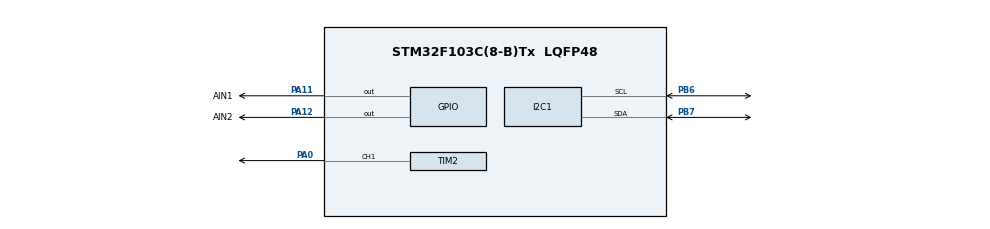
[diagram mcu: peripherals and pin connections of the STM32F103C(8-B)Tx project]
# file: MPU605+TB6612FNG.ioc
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Mcu.Family=STM32F1
Mcu.Name=STM32F103C(8-B)Tx
Mcu.Package=LQFP48
NVIC.PriorityGroup=NVIC_PRIORITYGROUP_4
NVIC.TIM2_IRQn=true\:0\:0\:false\:false\:true\:true\:true\:true
NVIC.TIM4_IRQn=true\:0\:0\:false\:false\:true\:true\:true\:true
PA0-WKUP.GPIO_ModeDefaultPP=GPIO_MODE_AF_OD
PA0-WKUP.Signal=S_TIM2_CH1_ETR
PA11.GPIO_Label=AIN1
PA11.GPIO_Speed=GPIO_SPEED_FREQ_HIGH
PA11.Signal=GPIO_Output
PA12.GPIO_Label=AIN2
PA12.GPIO_Speed=GPIO_SPEED_FREQ_HIGH
PA12.Signal=GPIO_Output
PA13.Mode=Serial_Wire
PA13.Signal=SYS_JTMS-SWDIO
PA14.Mode=Serial_Wire
PA14.Signal=SYS_JTCK-SWCLK
PB6.Mode=I2C
PB6.Signal=I2C1_SCL
PB7.Mode=I2C
PB7.Signal=I2C1_SDA
PD0-OSC_IN.Mode=HSE-External-Oscillator
PD0-OSC_IN.Signal=RCC_OSC_IN
PD1-OSC_OUT.Mode=HSE-External-Oscillator
PD1-OSC_OUT.Signal=RCC_OSC_OUT
ProjectManager.HeapSize=0x200
ProjectManager.StackSize=0x400
ProjectManager.TargetToolchain=MDK-ARM V5.32
RCC.APB1Freq_Value=8000000
RCC.APB2Freq_Value=8000000
SH.S_TIM2_CH1_ETR.0=TIM2_CH1,PWM Generation1 CH1
TIM2.Channel-PWM\ Generation1\ CH1=TIM_CHANNEL_1
TIM2.Period=1000-1
TIM2.Prescaler=8-1
TIM4.Period=10000-1
TIM4.Prescaler=8-1
VP_TIM2_VS_ClockSourceINT.Mode=Internal
VP_TIM4_VS_ClockSourceINT.Mode=Internal
board=custom

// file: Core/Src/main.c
/* USER CODE BEGIN Header */
/**
  ******************************************************************************
  * @file           : main.c
  * @brief          : Main program body
  ******************************************************************************
  * @attention
  *
  * Copyright (c) 2025 STMicroelectronics.
  * All rights reserved.
  *
  * This software is licensed under terms that can be found in the LICENSE file
  * in the root directory of this software component.
  * If no LICENSE file comes with this software, it is provided AS-IS.
  *
  ******************************************************************************
  */
/* USER CODE END Header */
#include "main.h"

/* USER CODE BEGIN Includes */
#include "math.h"
/* USER CODE END Includes */

/* USER CODE BEGIN PD */
#define MPU6050_ADDR   0x68<<1
#define WHO_AM_I_REG   0x75
#define PI             3.141592
/* USER CODE END PD */

I2C_HandleTypeDef hi2c1;
TIM_HandleTypeDef htim2;
TIM_HandleTypeDef htim4;

void SystemClock_Config(void);
static void MX_GPIO_Init(void);
static void MX_I2C1_Init(void);
static void MX_TIM2_Init(void);
static void MX_TIM4_Init(void);
/* USER CODE BEGIN PFP */
int16_t Accel_X_RAW = 0;
int16_t Accel_Y_RAW = 0;
int16_t Accel_Z_RAW = 0;

int16_t Gyro_X_RAW = 0;
int16_t Gyro_Y_RAW = 0;
int16_t Gyro_Z_RAW = 0;

float Ax, Ay, Az, Gx, Gy, Gz;
const float dt = 10000/1000000.0f;
float pitch = 0.0;
float roll  = 0.0;

const float setpoint = 0;
float error = 0;
/* USER CODE END PFP */

/* USER CODE BEGIN 0 */
void MPU6050_Init(void){
  uint8_t check, Data;
	// check device ID WHO_AM_I
	HAL_I2C_Mem_Read(&hi2c1, MPU6050_ADDR, 0x75, 1, &check, 1, 1000);
	if(check == 0x68)//if the device is present
	{
		Data = 0;
		HAL_I2C_Mem_Write(&hi2c1, MPU6050_ADDR, 0x6B, 1,&Data, 1, 1000);
		// Set DATA RATE of 1KHz by writing SMPLRT_DIV register
		Data = 0x07;
		HAL_I2C_Mem_Write(&hi2c1, MPU6050_ADDR, 0x19, 1, &Data, 1, 1000);

		Data = 0x00;
    HAL_I2C_Mem_Write(&hi2c1, MPU6050_ADDR, 0x1A, 1, &Data, 1, 1000);

		// Set Gyroscopic configuration in GYRO_CONFIG Register
		Data = 0x00;  // XG_ST=0,YG_ST=0,ZG_ST=0, FS_SEL=0 -> ? 250 ?/s
		HAL_I2C_Mem_Write(&hi2c1, MPU6050_ADDR, 0x1B, 1, &Data, 1, 1000);

		// Set accelerometer configuration in ACCEL_CONFIG Register
		Data = 0x00;  // XA_ST=0,YA_ST=0,ZA_ST=0, FS_SEL=0 -> ? 2g
		HAL_I2C_Mem_Write(&hi2c1, MPU6050_ADDR, 0x1C, 1, &Data, 1, 1000);
	}

}

void MPU6050_Read_Accel (void)
{
	uint8_t Rec_Data[6];

	// Read 6 BYTES of data starting from ACCEL_XOUT_H (0x3B) register
	HAL_I2C_Mem_Read (&hi2c1, MPU6050_ADDR, 0x3B, 1, Rec_Data, 6, 1000);

	Accel_X_RAW = (int16_t)(Rec_Data[0] << 8 | Rec_Data [1]);
	Accel_Y_RAW = (int16_t)(Rec_Data[2] << 8 | Rec_Data [3]);
	Accel_Z_RAW = (int16_t)(Rec_Data[4] << 8 | Rec_Data [5]);

	/*** convert the RAW values into acceleration in 'g'
	     we have to divide according to the Full scale value set in FS_SEL
	     I have configured FS_SEL = 0. So I am dividing by 16384.0
	     for more details check ACCEL_CONFIG Register              ****/

	Ax = (float)Accel_X_RAW/16384.0;
	Ay = (float)Accel_Y_RAW/16384.0;
	Az = (float)Accel_Z_RAW/16384.0;
}

void MPU6050_Read_Gyro (void)
{
	uint8_t Rec_Data[6];

	// Read 6 BYTES of data starting from GYRO_XOUT_H register
	HAL_I2C_Mem_Read (&hi2c1, MPU6050_ADDR, 0x43, 1, Rec_Data, 6, 1000);

	Gyro_X_RAW = (int16_t)(Rec_Data[0] << 8 | Rec_Data [1]);
	Gyro_Y_RAW = (int16_t)(Rec_Data[2] << 8 | Rec_Data [3]);
	Gyro_Z_RAW = (int16_t)(Rec_Data[4] << 8 | Rec_Data [5]);

	/*** convert the RAW values into dps (?/s)
	     we have to divide according to the Full scale value set in FS_SEL
	     I have configured FS_SEL = 0. So I am dividing by 131.0
	     for more details check GYRO_CONFIG Register              ****/

	Gx = (float)Gyro_X_RAW/131.0;
	Gy = (float)Gyro_Y_RAW/131.0;
	Gz = (float)Gyro_Z_RAW/131.0;
}

void filter( float Ax, float Ay, float Az, float Gx, float Gy, float Gz){
  float pitchG = pitch + Gx*dt;
	float	rollG  = roll  + Gy*dt;

	float pitchA = atan2(Ay, sqrt(Ax*Ax + Az*Az))*(180/PI);
	float rollA  = atan2(Ax, sqrt(Ay*Ay + Az*Az))*(180/PI);

	pitch = 0.98*pitchG + 0.02*pitchA;
	roll  = 0.98*rollG  + 0.02*rollA;
}
//-------------------------------------------------------------------------//
//chuyen goc ve duty cycle
float map(float x, float in_min, float in_max, float out_min, float out_max)
{
    return (x - in_min) * (out_max - out_min) / (in_max - in_min) + out_min;
}
//------------------------------------------------------------------------//

void direction(int speed){
	if(speed > 0){//FORWARD
		HAL_GPIO_WritePin(AIN1_GPIO_Port,AIN1_Pin, GPIO_PIN_SET);
		HAL_GPIO_WritePin(AIN2_GPIO_Port,AIN2_Pin, GPIO_PIN_RESET);
		__HAL_TIM_SET_COMPARE(&htim2, TIM_CHANNEL_1, speed);
	}
	else if(speed < 0){//BACKWARD
		HAL_GPIO_WritePin(AIN1_GPIO_Port,AIN1_Pin, GPIO_PIN_RESET);
		HAL_GPIO_WritePin(AIN2_GPIO_Port,AIN2_Pin, GPIO_PIN_SET);
		__HAL_TIM_SET_COMPARE(&htim2, TIM_CHANNEL_1, -speed);
	}
	else{//stop
		HAL_GPIO_WritePin(AIN1_GPIO_Port,AIN1_Pin, GPIO_PIN_RESET);
		HAL_GPIO_WritePin(AIN2_GPIO_Port,AIN2_Pin, GPIO_PIN_RESET);
		__HAL_TIM_SET_COMPARE(&htim2, TIM_CHANNEL_1, 0);
	}
}

void HAL_TIM_PeriodElapsedCallback(TIM_HandleTypeDef *htim) {
	if (htim == &htim4) {
		error = setpoint - pitch;
		int pwm_value = (int)fabs(map(error,0,90,0,100));
		direction(pwm_value);
  }
}

/* USER CODE END 0 */

int main(void)
{

  /* MCU Configuration--------------------------------------------------------*/

  /* Reset of all peripherals, Initializes the Flash interface and the Systick. */
  HAL_Init();

  /* Configure the system clock */
  SystemClock_Config();

  /* Initialize all configured peripherals */
  MX_GPIO_Init();
  MX_I2C1_Init();
  MX_TIM2_Init();
  MX_TIM4_Init();
  /* USER CODE BEGIN 2 */
  MPU6050_Init();
	HAL_TIM_Base_Start_IT(&htim4);
  /* USER CODE END 2 */

  /* Infinite loop */
  while (1)
  {

    /* USER CODE BEGIN 3 */
		//------------------------------------------------------//
		MPU6050_Read_Accel();
	  MPU6050_Read_Gyro();
    filter(Ax, Ay, Az, Gx, Gy, Gz);

		HAL_Delay (100);
  }
  /* USER CODE END 3 */
}

void SystemClock_Config(void)
{
  RCC_OscInitTypeDef RCC_OscInitStruct = {0};
  RCC_ClkInitTypeDef RCC_ClkInitStruct = {0};

  /** Initializes the RCC Oscillators according to the specified parameters
  * in the RCC_OscInitTypeDef structure.
  */
  RCC_OscInitStruct.OscillatorType = RCC_OSCILLATORTYPE_HSI;
  RCC_OscInitStruct.HSIState = RCC_HSI_ON;
  RCC_OscInitStruct.HSICalibrationValue = RCC_HSICALIBRATION_DEFAULT;
  RCC_OscInitStruct.PLL.PLLState = RCC_PLL_NONE;
  if (HAL_RCC_OscConfig(&RCC_OscInitStruct) != HAL_OK)
  {
    Error_Handler();
  }

  /** Initializes the CPU, AHB and APB buses clocks
  */
  RCC_ClkInitStruct.ClockType = RCC_CLOCKTYPE_HCLK|RCC_CLOCKTYPE_SYSCLK
                              |RCC_CLOCKTYPE_PCLK1|RCC_CLOCKTYPE_PCLK2;
  RCC_ClkInitStruct.SYSCLKSource = RCC_SYSCLKSOURCE_HSI;
  RCC_ClkInitStruct.AHBCLKDivider = RCC_SYSCLK_DIV1;
  RCC_ClkInitStruct.APB1CLKDivider = RCC_HCLK_DIV1;
  RCC_ClkInitStruct.APB2CLKDivider = RCC_HCLK_DIV1;

  if (HAL_RCC_ClockConfig(&RCC_ClkInitStruct, FLASH_LATENCY_0) != HAL_OK)
  {
    Error_Handler();
  }
}

static void MX_I2C1_Init(void)
{

  hi2c1.Instance = I2C1;
  hi2c1.Init.ClockSpeed = 100000;
  hi2c1.Init.DutyCycle = I2C_DUTYCYCLE_2;
  hi2c1.Init.OwnAddress1 = 0;
  hi2c1.Init.AddressingMode = I2C_ADDRESSINGMODE_7BIT;
  hi2c1.Init.DualAddressMode = I2C_DUALADDRESS_DISABLE;
  hi2c1.Init.OwnAddress2 = 0;
  hi2c1.Init.GeneralCallMode = I2C_GENERALCALL_DISABLE;
  hi2c1.Init.NoStretchMode = I2C_NOSTRETCH_DISABLE;
  if (HAL_I2C_Init(&hi2c1) != HAL_OK)
  {
    Error_Handler();
  }

}

static void MX_TIM2_Init(void)
{

  TIM_ClockConfigTypeDef sClockSourceConfig = {0};
  TIM_MasterConfigTypeDef sMasterConfig = {0};
  TIM_OC_InitTypeDef sConfigOC = {0};

  htim2.Instance = TIM2;
  htim2.Init.Prescaler = 8-1;
  htim2.Init.CounterMode = TIM_COUNTERMODE_UP;
  htim2.Init.Period = 1000-1;
  htim2.Init.ClockDivision = TIM_CLOCKDIVISION_DIV1;
  htim2.Init.AutoReloadPreload = TIM_AUTORELOAD_PRELOAD_DISABLE;
  if (HAL_TIM_Base_Init(&htim2) != HAL_OK)
  {
    Error_Handler();
  }
  sClockSourceConfig.ClockSource = TIM_CLOCKSOURCE_INTERNAL;
  if (HAL_TIM_ConfigClockSource(&htim2, &sClockSourceConfig) != HAL_OK)
  {
    Error_Handler();
  }
  if (HAL_TIM_PWM_Init(&htim2) != HAL_OK)
  {
    Error_Handler();
  }
  sMasterConfig.MasterOutputTrigger = TIM_TRGO_RESET;
  sMasterConfig.MasterSlaveMode = TIM_MASTERSLAVEMODE_DISABLE;
  if (HAL_TIMEx_MasterConfigSynchronization(&htim2, &sMasterConfig) != HAL_OK)
  {
    Error_Handler();
  }
  sConfigOC.OCMode = TIM_OCMODE_PWM1;
  sConfigOC.Pulse = 0;
  sConfigOC.OCPolarity = TIM_OCPOLARITY_HIGH;
  sConfigOC.OCFastMode = TIM_OCFAST_DISABLE;
  if (HAL_TIM_PWM_ConfigChannel(&htim2, &sConfigOC, TIM_CHANNEL_1) != HAL_OK)
  {
    Error_Handler();
  }
  HAL_TIM_MspPostInit(&htim2);

}

static void MX_TIM4_Init(void)
{

  TIM_ClockConfigTypeDef sClockSourceConfig = {0};
  TIM_MasterConfigTypeDef sMasterConfig = {0};

  htim4.Instance = TIM4;
  htim4.Init.Prescaler = 8-1;
  htim4.Init.CounterMode = TIM_COUNTERMODE_UP;
  htim4.Init.Period = 10000-1;
  htim4.Init.ClockDivision = TIM_CLOCKDIVISION_DIV1;
  htim4.Init.AutoReloadPreload = TIM_AUTORELOAD_PRELOAD_DISABLE;
  if (HAL_TIM_Base_Init(&htim4) != HAL_OK)
  {
    Error_Handler();
  }
  sClockSourceConfig.ClockSource = TIM_CLOCKSOURCE_INTERNAL;
  if (HAL_TIM_ConfigClockSource(&htim4, &sClockSourceConfig) != HAL_OK)
  {
    Error_Handler();
  }
  sMasterConfig.MasterOutputTrigger = TIM_TRGO_RESET;
  sMasterConfig.MasterSlaveMode = TIM_MASTERSLAVEMODE_DISABLE;
  if (HAL_TIMEx_MasterConfigSynchronization(&htim4, &sMasterConfig) != HAL_OK)
  {
    Error_Handler();
  }

}

static void MX_GPIO_Init(void)
{
  GPIO_InitTypeDef GPIO_InitStruct = {0};

  /* GPIO Ports Clock Enable */
  __HAL_RCC_GPIOD_CLK_ENABLE();
  __HAL_RCC_GPIOA_CLK_ENABLE();
  __HAL_RCC_GPIOB_CLK_ENABLE();

  /*Configure GPIO pin Output Level */
  HAL_GPIO_WritePin(GPIOA, AIN1_Pin|AIN2_Pin, GPIO_PIN_RESET);

  /*Configure GPIO pins : AIN1_Pin AIN2_Pin */
  GPIO_InitStruct.Pin = AIN1_Pin|AIN2_Pin;
  GPIO_InitStruct.Mode = GPIO_MODE_OUTPUT_PP;
  GPIO_InitStruct.Pull = GPIO_NOPULL;
  GPIO_InitStruct.Speed = GPIO_SPEED_FREQ_HIGH;
  HAL_GPIO_Init(GPIOA, &GPIO_InitStruct);

}

void Error_Handler(void)
{
  __disable_irq();
  while (1)
  {
  }
}
